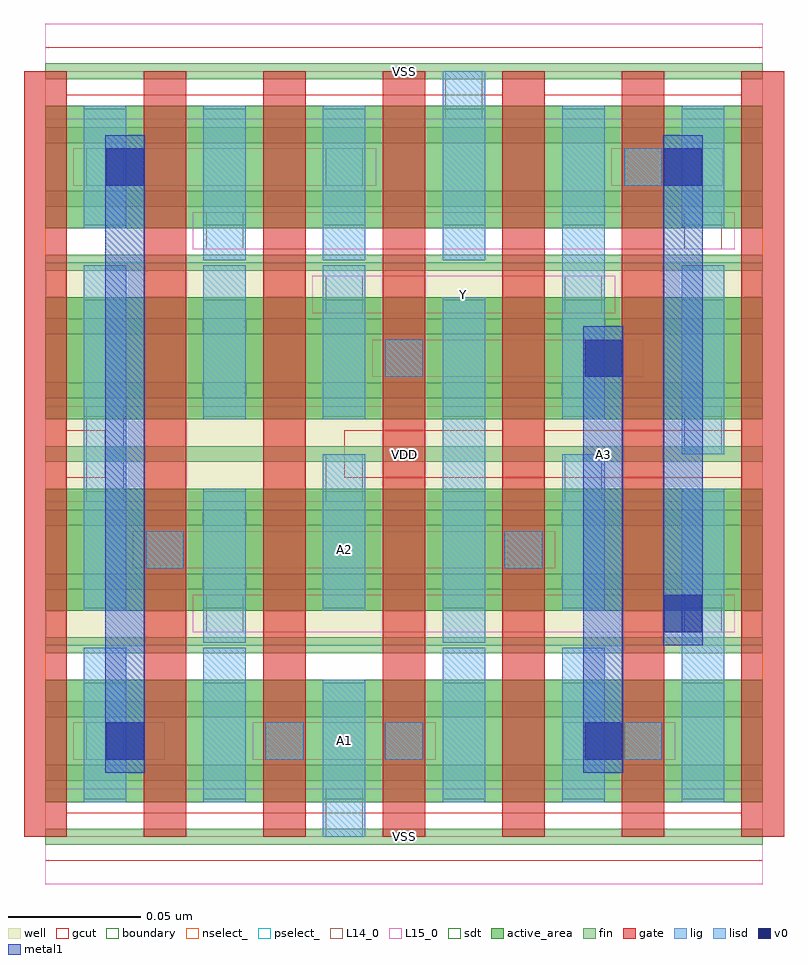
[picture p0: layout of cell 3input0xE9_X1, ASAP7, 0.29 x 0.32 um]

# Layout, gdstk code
import gdstk
lib = gdstk.Library(unit=1e-6, precision=2.5e-10)
def R(c, l, rs):  # rectangles x0, y0, x1, y1
    for r in rs: c.add(gdstk.rectangle(r[:2], r[2:], *l))
def A(c, l, x, y, w, h, nx, ny, dx, dy):  # array of equal rectangles
    R(c, l, [(x+i*dx, y+j*dy, x+i*dx+w, y+j*dy+h) for i in range(nx) for j in range(ny)])
def P(c, l, *ps):  # polygons
    for p in ps: c.add(gdstk.Polygon(p, *l))
well = (1, 0)
fin = (2, 0)
gate = (7, 0)
gcut = (10, 0)
active_area = (11, 0)
nselect_ = (12, 0)
pselect_ = (13, 0)
L14_0 = (14, 0)
L15_0 = (15, 0)
lig = (16, 0)
lisd = (17, 0)
v0 = (18, 0)
metal1 = (19, 0)
sdt = (88, 0)
boundary = (100, 0)

c_3input0xe9_x1 = lib.new_cell('3input0xE9_X1')
R(c_3input0xe9_x1, well, [(0,0.072,0.27,0.144), (0,0.144,0.27,0.216)])
A(c_3input0xe9_x1, fin, 0, -0.003, 0.27, 0.006, 1, 13, 0, 0.024)
A(c_3input0xe9_x1, gate, -0.008, 0, 0.016, 0.288, 7, 1, 0.045, 0)
P(c_3input0xe9_x1, gcut, [(0,-0.009),(0,0),(-0.008,0),(-0.008,0.279),(0.008,0.279),(0.008,0.153),(0.0225,0.153),(0.0225,0.135),(0.008,0.135),(0.008,0.009),(0.262,0.009),(0.262,0.135),(0.1125,0.135),(0.1125,0.153),(0.172,0.153),(0.172,0.279),(0.188,0.279),(0.188,0.153),(0.262,0.153),(0.262,0.279),(-0.008,0.279),(-0.008,0.288),(0,0.288),(0,0.297),(0.27,0.297),(0.27,0.288),(0.278,0.288),(0.278,0),(0.27,0),(0.27,-0.009)])
A(c_3input0xe9_x1, active_area, 0, 0.013, 0.27, 0.046, 1, 4, 0, 0.072)
R(c_3input0xe9_x1, nselect_, [(0,0,0.27,0.072), (0,0.216,0.27,0.288)])
R(c_3input0xe9_x1, pselect_, [(0,0.072,0.27,0.144), (0,0.144,0.27,0.216)])
A(c_3input0xe9_x1, L14_0, 0.0155, 0.126, 0.014, 0.018, 3, 1, 0.09, 0)
R(c_3input0xe9_x1, L14_0, [(0.1055,0,0.1195,0.018), (0.0155,0.029,0.0295,0.043), (0.083,0.029,0.097,0.043), (0.128,0.029,0.142,0.043), (0.218,0.029,0.232,0.043), (0.0605,0.077,0.0745,0.091), (0.2405,0.077,0.2545,0.091), (0.038,0.101,0.052,0.115), (0.173,0.101,0.187,0.115), (0.0155,0.144,0.0295,0.162), (0.2405,0.144,0.2545,0.162), (0.128,0.173,0.142,0.187), (0.1055,0.197,0.1195,0.211), (0.1955,0.197,0.2095,0.211), (0.0605,0.221,0.0745,0.235), (0.2405,0.221,0.2545,0.235), (0.0155,0.245,0.0295,0.259), (0.1055,0.245,0.1195,0.259), (0.218,0.245,0.232,0.259), (0.1505,0.27,0.1645,0.288)])
A(c_3input0xe9_x1, L15_0, 0, -0.018, 0.27, 0.036, 1, 3, 0, 0.144)
R(c_3input0xe9_x1, L15_0, [(0.0105,0.029,0.045,0.043), (0.078,0.029,0.147,0.043), (0.195,0.029,0.237,0.043), (0.0555,0.077,0.2595,0.091), (0.033,0.101,0.192,0.115), (0.123,0.173,0.225,0.187), (0.1005,0.197,0.2145,0.211), (0.0555,0.221,0.2595,0.235), (0.0105,0.245,0.1245,0.259), (0.213,0.245,0.255,0.259)])
R(c_3input0xe9_x1, lig, [(0.083,0.029,0.097,0.043), (0.128,0.029,0.142,0.043), (0.218,0.029,0.232,0.043), (0.038,0.101,0.052,0.115), (0.173,0.101,0.187,0.115), (0.128,0.173,0.142,0.187), (0.218,0.245,0.232,0.259)])
R(c_3input0xe9_x1, lisd, [(0.1045,0,0.1205,0.059), (0.0145,0.013,0.0305,0.071), (0.0595,0.013,0.0755,0.071), (0.1495,0.013,0.1655,0.071), (0.1945,0.013,0.2105,0.071), (0.2395,0.013,0.2555,0.131), (0.0595,0.073,0.0755,0.131), (0.1495,0.073,0.1655,0.203), (0.0145,0.085,0.0305,0.215), (0.1045,0.085,0.1205,0.144), (0.1945,0.085,0.2105,0.144), (0.2395,0.144,0.2555,0.215), (0.0595,0.157,0.0755,0.215), (0.1045,0.157,0.1205,0.215), (0.1945,0.157,0.2105,0.275), (0.0595,0.217,0.0755,0.275), (0.1045,0.217,0.1205,0.275), (0.1495,0.217,0.1655,0.288), (0.0145,0.229,0.0305,0.275), (0.2395,0.229,0.2555,0.275)])
R(c_3input0xe9_x1, v0, [(0.023,0.029,0.037,0.043), (0.203,0.029,0.217,0.043), (0.233,0.077,0.247,0.091), (0.203,0.173,0.217,0.187), (0.023,0.245,0.037,0.259), (0.233,0.245,0.247,0.259)])
R(c_3input0xe9_x1, metal1, [(0.0225,0.024,0.0375,0.264), (0.2025,0.024,0.2175,0.192), (0.2325,0.072,0.2475,0.264)])
A(c_3input0xe9_x1, sdt, 0.0145, 0.014, 0.016, 0.044, 6, 4, 0.045, 0.072)
R(c_3input0xe9_x1, boundary, [(0,0,0.27,0.288)])
c_3input0xe9_x1.add(gdstk.Label('A1', (0.1125,0.036), layer=15, texttype=251))
c_3input0xe9_x1.add(gdstk.Label('VSS', (0.135,0), layer=15, texttype=251))
c_3input0xe9_x1.add(gdstk.Label('VDD', (0.135,0.144), layer=15, texttype=251))
c_3input0xe9_x1.add(gdstk.Label('VDD', (0.135,0.144), layer=15, texttype=251))
c_3input0xe9_x1.add(gdstk.Label('VSS', (0.135,0.288), layer=15, texttype=251))
c_3input0xe9_x1.add(gdstk.Label('VSS', (0.135,0), layer=15, texttype=251))
c_3input0xe9_x1.add(gdstk.Label('VDD', (0.135,0.144), layer=15, texttype=251))
c_3input0xe9_x1.add(gdstk.Label('VDD', (0.135,0.144), layer=15, texttype=251))
c_3input0xe9_x1.add(gdstk.Label('VSS', (0.135,0.288), layer=15, texttype=251))
c_3input0xe9_x1.add(gdstk.Label('A2', (0.1125,0.108), layer=15, texttype=251))
c_3input0xe9_x1.add(gdstk.Label('VSS', (0.135,0), layer=15, texttype=251))
c_3input0xe9_x1.add(gdstk.Label('VDD', (0.135,0.144), layer=15, texttype=251))
c_3input0xe9_x1.add(gdstk.Label('VDD', (0.135,0.144), layer=15, texttype=251))
c_3input0xe9_x1.add(gdstk.Label('VSS', (0.135,0.288), layer=15, texttype=251))
c_3input0xe9_x1.add(gdstk.Label('Y', (0.1575,0.204), layer=15, texttype=251))
c_3input0xe9_x1.add(gdstk.Label('VSS', (0.135,0), layer=15, texttype=251))
c_3input0xe9_x1.add(gdstk.Label('VDD', (0.135,0.144), layer=15, texttype=251))
c_3input0xe9_x1.add(gdstk.Label('VDD', (0.135,0.144), layer=15, texttype=251))
c_3input0xe9_x1.add(gdstk.Label('VSS', (0.135,0.288), layer=15, texttype=251))
c_3input0xe9_x1.add(gdstk.Label('VSS', (0.135,0), layer=3, texttype=251))
c_3input0xe9_x1.add(gdstk.Label('VSS', (0.135,0.288), layer=3, texttype=251))
c_3input0xe9_x1.add(gdstk.Label('VSS', (0.135,0), layer=3, texttype=251))
c_3input0xe9_x1.add(gdstk.Label('VSS', (0.135,0.288), layer=3, texttype=251))
c_3input0xe9_x1.add(gdstk.Label('VSS', (0.135,0), layer=3, texttype=251))
c_3input0xe9_x1.add(gdstk.Label('VSS', (0.135,0.288), layer=3, texttype=251))
c_3input0xe9_x1.add(gdstk.Label('VSS', (0.135,0), layer=3, texttype=251))
c_3input0xe9_x1.add(gdstk.Label('VSS', (0.135,0.288), layer=3, texttype=251))
c_3input0xe9_x1.add(gdstk.Label('VDD', (0.135,0.144), layer=1, texttype=251))
c_3input0xe9_x1.add(gdstk.Label('VDD', (0.135,0.144), layer=1, texttype=251))
c_3input0xe9_x1.add(gdstk.Label('VDD', (0.135,0.144), layer=1, texttype=251))
c_3input0xe9_x1.add(gdstk.Label('VDD', (0.135,0.144), layer=1, texttype=251))
c_3input0xe9_x1.add(gdstk.Label('VDD', (0.135,0.144), layer=1, texttype=251))
c_3input0xe9_x1.add(gdstk.Label('VDD', (0.135,0.144), layer=1, texttype=251))
c_3input0xe9_x1.add(gdstk.Label('VDD', (0.135,0.144), layer=1, texttype=251))
c_3input0xe9_x1.add(gdstk.Label('VDD', (0.135,0.144), layer=1, texttype=251))
c_3input0xe9_x1.add(gdstk.Label('A3', (0.21,0.144), layer=19, texttype=251))

lib.write_gds('3input0xE9_X1.gds')
